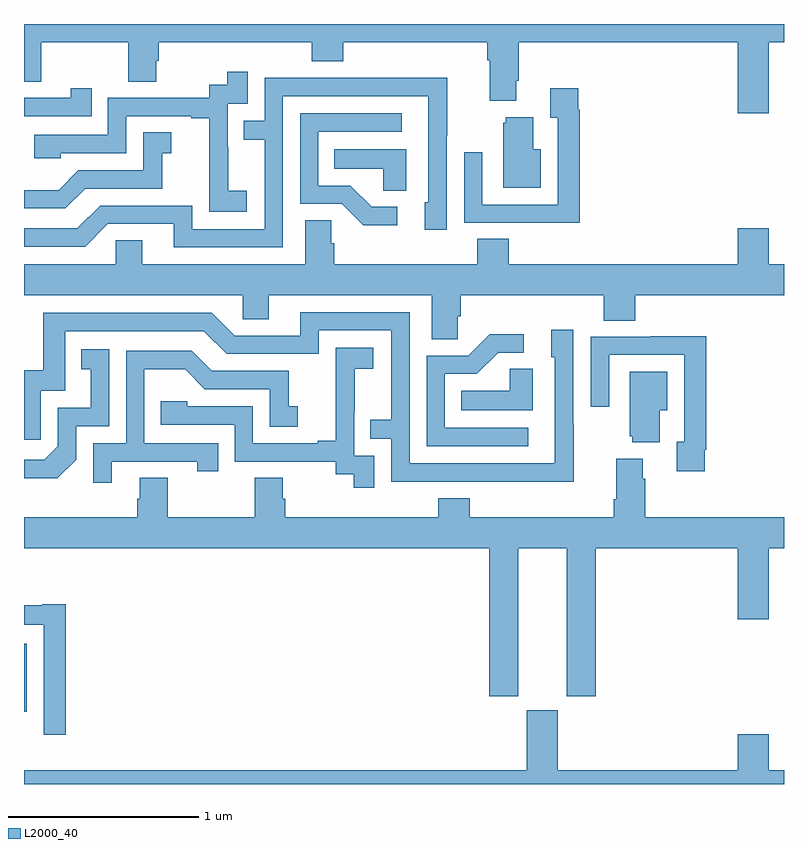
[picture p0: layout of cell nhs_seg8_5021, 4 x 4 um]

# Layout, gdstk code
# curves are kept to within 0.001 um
import gdstk
lib = gdstk.Library(unit=1e-6, precision=1e-09)
def R(c, l, rs):  # rectangles x0, y0, x1, y1
    for r in rs: c.add(gdstk.rectangle(r[:2], r[2:], *l))
def P(c, l, *ps):  # polygons
    for p in ps: c.add(gdstk.Polygon(p, *l))
L2000_40 = (2000, 40)

nhs_seg8_5021 = lib.new_cell('nhs_seg8_5021')
R(nhs_seg8_5021, L2000_40, [(413,1142.28,413.014,1142.638)])
P(nhs_seg8_5021, L2000_40, [(416.92,1145.804),(417,1145.804),(417,1145.9),(413,1145.9),(413,1145.596),(413.091,1145.596),(413.091,1145.804),(413.548,1145.804),(413.548,1145.596),(413.695,1145.596),(413.695,1145.706),(413.708,1145.706),(413.708,1145.804),(414.515,1145.804),(414.515,1145.705),(414.68,1145.705),(414.68,1145.804),(415.439,1145.804),(415.439,1145.708),(415.451,1145.708),(415.451,1145.495),(415.591,1145.495),(415.591,1145.602),(415.604,1145.602),(415.604,1145.804),(416.756,1145.804),(416.756,1145.43),(416.92,1145.43)],
  [(414.172,1145.023),(414.074,1145.023),(414.074,1145.252),(414.072,1145.252),(414.072,1145.481),(414.177,1145.481),(414.177,1145.65),(414.069,1145.65),(414.069,1145.58),(413.976,1145.58),(413.976,1145.511),(413.442,1145.511),(413.442,1145.316),(413.053,1145.316),(413.053,1145.193),(413.193,1145.193),(413.193,1145.22),(413.538,1145.22),(413.538,1145.415),(413.879,1145.415),(413.879,1145.403),(413.975,1145.403),(413.975,1145.119),(413.974,1145.119),(413.974,1144.913),(414.172,1144.913)],
  [(414.363,1145.52),(415.128,1145.52),(415.128,1144.962),(415.109,1144.962),(415.109,1144.818),(415.224,1144.818),(415.224,1145.311),(415.227,1145.311),(415.227,1145.618),(414.763,1145.618),(414.763,1145.616),(414.267,1145.616),(414.267,1145.391),(414.157,1145.391),(414.157,1145.29),(414.267,1145.29),(414.267,1144.821),(413.886,1144.821),(413.886,1144.944),(413.4,1144.944),(413.28,1144.824),(413,1144.824),(413,1144.728),(413.322,1144.728),(413.442,1144.848),(413.789,1144.848),(413.789,1144.725),(414.363,1144.725)],
  [(415.925,1145.45),(415.918,1145.45),(415.918,1145.563),(415.769,1145.563),(415.769,1145.407),(415.809,1145.407),(415.809,1144.95),(415.413,1144.95),(415.413,1145.224),(415.317,1145.224),(415.317,1144.854),(415.633,1144.854),(415.633,1144.853),(415.925,1144.853)],
  [(413.357,1145.563),(413.246,1145.563),(413.246,1145.511),(413,1145.511),(413,1145.415),(413.357,1145.415)],
  [(414.964,1144.938),(414.829,1144.938),(414.718,1145.049),(414.549,1145.049),(414.549,1145.334),(414.988,1145.334),(414.988,1145.43),(414.453,1145.43),(414.453,1144.953),(414.672,1144.953),(414.785,1144.841),(414.964,1144.841)],
  [(415.72,1145.242),(415.681,1145.242),(415.681,1145.41),(415.535,1145.41),(415.535,1145.379),(415.523,1145.379),(415.523,1145.039),(415.72,1145.039)],
  [(413.323,1145.034),(413.727,1145.034),(413.727,1145.219),(413.776,1145.219),(413.776,1145.329),(413.628,1145.329),(413.628,1145.13),(413.286,1145.13),(413.182,1145.026),(413,1145.026),(413,1144.929),(413.218,1144.929)],
  [(415.012,1145.242),(414.634,1145.242),(414.634,1145.138),(414.891,1145.138),(414.891,1145.023),(415.012,1145.023)],
  [(415.55,1144.769),(415.385,1144.769),(415.385,1144.636),(414.632,1144.636),(414.632,1144.745),(414.618,1144.745),(414.618,1144.868),(414.479,1144.868),(414.479,1144.636),(413.623,1144.636),(413.623,1144.763),(413.484,1144.763),(413.484,1144.636),(413,1144.636),(413,1144.472),(414.15,1144.472),(414.15,1144.345),(414.289,1144.345),(414.289,1144.472),(415.145,1144.472),(415.145,1144.24),(415.284,1144.24),(415.284,1144.363),(415.298,1144.363),(415.298,1144.472),(416.051,1144.472),(416.051,1144.339),(416.216,1144.339),(416.216,1144.472),(417,1144.472),(417,1144.636),(416.92,1144.636),(416.92,1144.825),(416.756,1144.825),(416.756,1144.636),(415.55,1144.636)],
  [(415.893,1143.797),(415.89,1143.797),(415.89,1144.291),(415.775,1144.291),(415.775,1144.146),(415.794,1144.146),(415.794,1143.588),(415.029,1143.588),(415.029,1144.383),(414.455,1144.383),(414.455,1144.26),(414.108,1144.26),(413.988,1144.38),(413.101,1144.38),(413.101,1144.078),(413,1144.078),(413,1143.711),(413.088,1143.711),(413.088,1143.969),(413.217,1143.969),(413.217,1144.284),(413.946,1144.284),(414.066,1144.164),(414.552,1144.164),(414.552,1144.287),(414.933,1144.287),(414.933,1143.818),(414.823,1143.818),(414.823,1143.717),(414.933,1143.717),(414.933,1143.492),(415.893,1143.491)],
  [(415.654,1143.774),(415.215,1143.774),(415.215,1144.059),(415.384,1144.059),(415.495,1144.17),(415.63,1144.17),(415.63,1144.268),(415.451,1144.268),(415.338,1144.155),(415.119,1144.155),(415.119,1143.678),(415.654,1143.678)],
  [(416.584,1143.658),(416.591,1143.658),(416.591,1144.256),(416.299,1144.256),(416.299,1144.254),(415.983,1144.254),(415.983,1143.885),(416.079,1143.885),(416.079,1144.158),(416.475,1144.158),(416.475,1143.702),(416.435,1143.702),(416.435,1143.546),(416.584,1143.546)],
  [(414.843,1143.627),(414.738,1143.627),(414.738,1143.857),(414.74,1143.857),(414.74,1144.085),(414.838,1144.085),(414.838,1144.195),(414.64,1144.195),(414.64,1143.989),(414.641,1143.989),(414.641,1143.706),(414.545,1143.706),(414.545,1143.693),(414.204,1143.693),(414.204,1143.888),(413.859,1143.888),(413.859,1143.915),(413.719,1143.915),(413.719,1143.792),(414.108,1143.792),(414.108,1143.597),(414.642,1143.597),(414.642,1143.529),(414.735,1143.529),(414.735,1143.459),(414.843,1143.459)],
  [(413.274,1143.606),(413.274,1143.783),(413.448,1143.783),(413.448,1144.189),(413.302,1144.189),(413.302,1144.083),(413.351,1144.083),(413.351,1143.879),(413.178,1143.879),(413.178,1143.678),(413.106,1143.606),(413,1143.606),(413,1143.509),(413.176,1143.509)],
  [(413.461,1143.597),(413.912,1143.597),(413.912,1143.546),(414.023,1143.546),(414.023,1143.693),(413.634,1143.693),(413.634,1144.082),(413.848,1144.082),(413.952,1143.978),(414.294,1143.978),(414.294,1143.78),(414.442,1143.78),(414.442,1143.889),(414.393,1143.889),(414.393,1144.074),(413.989,1144.074),(413.884,1144.179),(413.538,1144.179),(413.538,1143.693),(413.364,1143.693),(413.364,1143.486),(413.461,1143.486)],
  [(415.678,1144.085),(415.557,1144.085),(415.557,1143.97),(415.3,1143.97),(415.3,1143.866),(415.678,1143.866)],
  [(416.347,1143.866),(416.386,1143.866),(416.386,1144.069),(416.189,1144.069),(416.189,1143.729),(416.201,1143.729),(416.201,1143.698),(416.347,1143.698)],
  [(415.6,1143.14),(415.856,1143.14),(415.856,1142.361),(416.009,1142.361),(416.009,1143.14),(416.756,1143.14),(416.756,1142.766),(416.92,1142.766),(416.92,1143.14),(417,1143.14),(417,1143.304),(416.27,1143.304),(416.27,1143.506),(416.257,1143.506),(416.257,1143.613),(416.117,1143.613),(416.117,1143.4),(416.105,1143.4),(416.105,1143.304),(415.346,1143.304),(415.346,1143.403),(415.181,1143.403),(415.181,1143.304),(414.374,1143.304),(414.374,1143.402),(414.361,1143.402),(414.361,1143.512),(414.214,1143.512),(414.214,1143.304),(413.757,1143.304),(413.757,1143.512),(413.609,1143.512),(413.609,1143.402),(413.597,1143.402),(413.597,1143.304),(413,1143.304),(413,1143.14),(415.448,1143.14),(415.448,1142.361),(415.6,1142.361)],
  [(413.219,1142.845),(413.096,1142.845),(413.096,1142.842),(413,1142.842),(413,1142.738),(413.103,1142.738),(413.103,1142.16),(413.219,1142.16)],
  [(417,1141.972),(416.92,1141.972),(416.92,1142.161),(416.756,1142.161),(416.756,1141.972),(415.81,1141.972),(415.81,1142.289),(415.646,1142.289),(415.646,1141.972),(413,1141.972),(413,1141.9),(417,1141.9)])

lib.write_gds('nhs_seg8_5021.gds')
